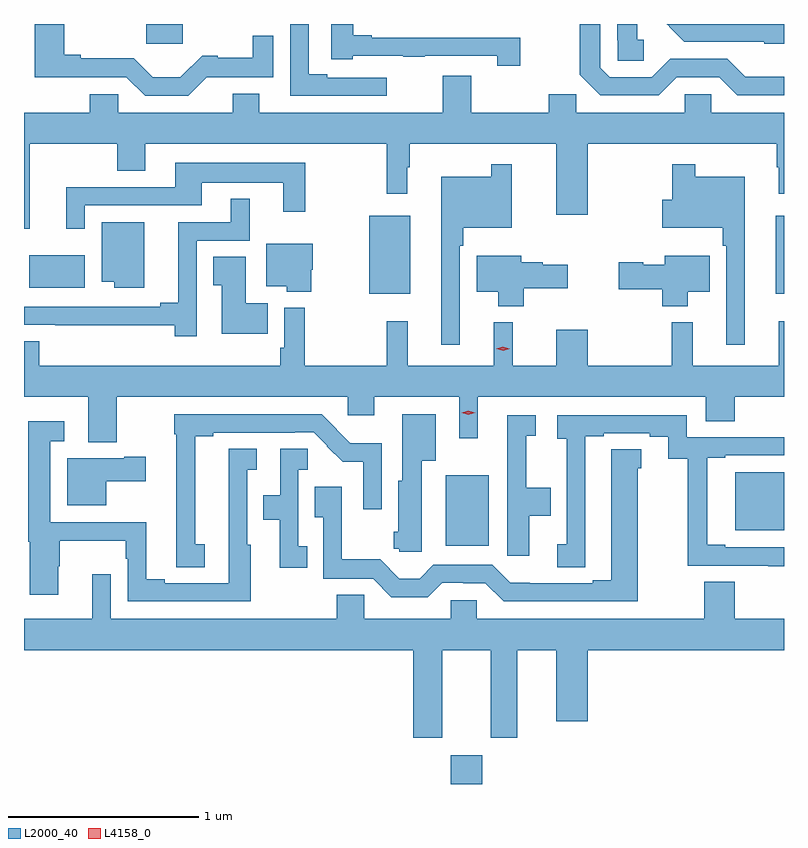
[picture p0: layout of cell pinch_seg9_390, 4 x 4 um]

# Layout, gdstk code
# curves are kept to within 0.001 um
import gdstk
lib = gdstk.Library(unit=1e-6, precision=1e-09)
def R(c, l, rs):  # rectangles x0, y0, x1, y1
    for r in rs: c.add(gdstk.rectangle(r[:2], r[2:], *l))
def P(c, l, *ps):  # polygons
    for p in ps: c.add(gdstk.Polygon(p, *l))
L2000_40 = (2000, 40)
L4158_0 = (4158, 0)

pinch_seg9_390 = lib.new_cell('pinch_seg9_390')
R(pinch_seg9_390, L2000_40, [(320.297,1211.699,320.461,1211.851), (320.27,1212.953,320.497,1213.324), (321.794,1213.034,322.05,1213.339), (319.868,1214.279,320.083,1214.689), (322.007,1214.279,322.05,1214.689), (318.077,1214.312,318.37,1214.482), (318.694,1215.596,318.886,1215.699)])
P(pinch_seg9_390, L2000_40, [(319.013,1215.419),(319.362,1215.419),(319.362,1215.637),(319.254,1215.637),(319.254,1215.521),(319.069,1215.521),(319.069,1215.533),(318.988,1215.533),(318.873,1215.418),(318.728,1215.418),(318.628,1215.519),(318.349,1215.519),(318.349,1215.536),(318.261,1215.536),(318.261,1215.699),(318.106,1215.699),(318.106,1215.419),(318.588,1215.42),(318.687,1215.321),(318.915,1215.321)],
  [(320.662,1215.627),(319.879,1215.627),(319.879,1215.64),(319.783,1215.64),(319.783,1215.699),(319.667,1215.699),(319.667,1215.513),(319.779,1215.513),(319.779,1215.531),(320.047,1215.531),(320.047,1215.526),(320.159,1215.526),(320.159,1215.531),(320.541,1215.531),(320.541,1215.48),(320.662,1215.48)],
  [(322.05,1215.699),(321.433,1215.699),(321.446,1215.686),(321.445,1215.685),(321.524,1215.606),(321.945,1215.606),(321.945,1215.596),(322.05,1215.596)],
  [(321.486,1215.42),(321.708,1215.42),(321.804,1215.324),(322.05,1215.324),(322.05,1215.421),(321.845,1215.421),(321.75,1215.516),(321.45,1215.516),(321.354,1215.42),(321.132,1215.42),(321.084,1215.468),(321.084,1215.699),(320.976,1215.699),(320.976,1215.433),(321.084,1215.324),(321.39,1215.324)],
  [(321.312,1215.616),(321.277,1215.616),(321.277,1215.699),(321.173,1215.699),(321.173,1215.613),(321.174,1215.613),(321.174,1215.505),(321.312,1215.505)],
  [(319.96,1215.417),(319.645,1215.417),(319.645,1215.435),(319.548,1215.435),(319.548,1215.699),(319.452,1215.699),(319.452,1215.321),(319.96,1215.321)],
  [(319.288,1215.331),(319.148,1215.331),(319.148,1215.232),(318.546,1215.232),(318.546,1215.33),(318.395,1215.33),(318.395,1215.232),(318.05,1215.232),(318.05,1214.622),(318.08,1214.622),(318.08,1215.068),(318.541,1215.068),(318.541,1214.926),(318.688,1214.926),(318.688,1215.068),(319.959,1215.068),(319.959,1214.805),(320.068,1214.805),(320.068,1214.945),(320.08,1214.945),(320.08,1215.068),(320.852,1215.068),(320.852,1214.694),(321.016,1214.694),(321.016,1215.068),(322.011,1215.068),(322.011,1214.945),(322.022,1214.945),(322.022,1214.805),(322.05,1214.805),(322.05,1215.232),(321.666,1215.232),(321.666,1215.33),(321.528,1215.33),(321.528,1215.232),(320.957,1215.232),(320.957,1215.33),(320.812,1215.33),(320.812,1215.232),(320.403,1215.232),(320.403,1215.427),(320.255,1215.427),(320.255,1215.232),(319.288,1215.232)],
  [(318.369,1214.745),(318.985,1214.745),(318.985,1214.864),(319.415,1214.864),(319.415,1214.712),(319.529,1214.712),(319.529,1214.968),(318.845,1214.968),(318.845,1214.841),(318.272,1214.841),(318.272,1214.622),(318.369,1214.622)],
  [(320.343,1214.531),(320.363,1214.531),(320.363,1214.627),(320.616,1214.627),(320.616,1214.962),(320.508,1214.962),(320.508,1214.896),(320.246,1214.896),(320.246,1214.01),(320.343,1214.01)],
  [(321.844,1214.896),(321.583,1214.896),(321.583,1214.962),(321.462,1214.962),(321.462,1214.775),(321.41,1214.775),(321.41,1214.627),(321.727,1214.627),(321.727,1214.531),(321.747,1214.531),(321.747,1214.01),(321.844,1214.01)],
  [(318.96,1214.559),(319.237,1214.559),(319.237,1214.779),(319.139,1214.779),(319.139,1214.655),(318.863,1214.655),(318.863,1214.231),(318.767,1214.231),(318.767,1214.211),(318.05,1214.211),(318.05,1214.115),(318.214,1214.115),(318.214,1214.114),(318.844,1214.114),(318.844,1214.055),(318.96,1214.055)],
  [(318.682,1214.656),(318.458,1214.656),(318.458,1214.342),(318.524,1214.342),(318.524,1214.312),(318.682,1214.312)],
  [(319.563,1214.406),(319.57,1214.406),(319.57,1214.542),(319.325,1214.542),(319.325,1214.318),(319.434,1214.318),(319.434,1214.291),(319.563,1214.291)],
  [(320.681,1214.309),(320.911,1214.309),(320.911,1214.431),(320.781,1214.431),(320.781,1214.444),(320.668,1214.444),(320.668,1214.479),(320.432,1214.479),(320.432,1214.291),(320.546,1214.291),(320.546,1214.213),(320.681,1214.213)],
  [(321.544,1214.291),(321.658,1214.291),(321.658,1214.479),(321.422,1214.479),(321.422,1214.431),(321.309,1214.431),(321.309,1214.444),(321.18,1214.444),(321.18,1214.302),(321.41,1214.302),(321.41,1214.213),(321.544,1214.213)],
  [(319.334,1214.23),(319.216,1214.23),(319.216,1214.474),(319.045,1214.474),(319.045,1214.323),(319.091,1214.323),(319.091,1214.069),(319.334,1214.069)],
  [(318.537,1213.736),(319.755,1213.736),(319.755,1213.641),(319.894,1213.641),(319.894,1213.736),(320.34,1213.736),(320.34,1213.518),(320.437,1213.518),(320.437,1213.736),(321.638,1213.736),(321.638,1213.609),(321.791,1213.609),(321.791,1213.736),(322.05,1213.736),(322.05,1214.134),(322.022,1214.134),(322.022,1213.9),(321.569,1213.9),(321.569,1214.128),(321.459,1214.128),(321.459,1213.9),(321.016,1213.9),(321.016,1214.089),(320.852,1214.089),(320.852,1213.9),(320.622,1213.9),(320.622,1214.128),(320.522,1214.128),(320.522,1213.9),(320.069,1213.9),(320.069,1214.134),(319.959,1214.134),(319.959,1213.9),(319.528,1213.9),(319.528,1214.206),(319.419,1214.206),(319.419,1213.996),(319.399,1213.996),(319.399,1213.9),(318.131,1213.9),(318.131,1214.03),(318.05,1214.03),(318.05,1213.736),(318.389,1213.736),(318.389,1213.499),(318.537,1213.499)],
  [(320.143,1213.4),(320.218,1213.4),(320.218,1213.645),(320.04,1213.645),(320.04,1213.296),(320.021,1213.296),(320.021,1213.026),(319.997,1213.026),(319.997,1212.936),(320.025,1212.936),(320.025,1212.921),(320.143,1212.921)],
  [(319,1212.96),(318.95,1212.96),(318.95,1213.528),(319.045,1213.528),(319.045,1213.548),(319.475,1213.548),(319.475,1213.551),(319.575,1213.551),(319.647,1213.479),(319.644,1213.476),(319.727,1213.394),(319.836,1213.394),(319.836,1213.146),(319.932,1213.146),(319.932,1213.492),(319.767,1213.492),(319.694,1213.565),(319.696,1213.567),(319.618,1213.644),(318.84,1213.644),(318.84,1213.541),(318.851,1213.541),(318.851,1212.841),(319,1212.841)],
  [(321.003,1212.949),(321.004,1212.949),(321.004,1213.53),(321.1,1213.53),(321.1,1213.545),(321.344,1213.545),(321.344,1213.527),(321.44,1213.527),(321.44,1213.412),(321.544,1213.412),(321.544,1212.849),(321.968,1212.849),(321.968,1212.844),(322.05,1212.844),(322.05,1212.945),(321.742,1212.945),(321.742,1212.958),(321.646,1212.958),(321.646,1213.416),(321.742,1213.416),(321.742,1213.428),(322.05,1213.428),(322.05,1213.524),(321.537,1213.524),(321.537,1213.641),(320.856,1213.641),(320.856,1213.517),(320.907,1213.517),(320.907,1212.96),(320.856,1212.96),(320.856,1212.841),(321.003,1212.841)],
  [(320.71,1213.111),(320.822,1213.111),(320.822,1213.258),(320.693,1213.258),(320.693,1213.533),(320.743,1213.533),(320.743,1213.639),(320.594,1213.639),(320.594,1212.9),(320.71,1212.9)],
  [(319.243,1212.957),(319.224,1212.957),(319.224,1213.352),(319.276,1213.352),(319.276,1213.463),(319.127,1213.463),(319.127,1213.057),(319.128,1213.057),(319.128,1212.756),(318.79,1212.756),(318.79,1212.776),(318.694,1212.776),(318.694,1213.077),(318.189,1213.077),(318.189,1213.503),(318.262,1213.503),(318.262,1213.609),(318.073,1213.609),(318.073,1212.974),(318.08,1212.974),(318.08,1212.696),(318.229,1212.696),(318.229,1212.846),(318.237,1212.846),(318.237,1212.98),(318.585,1212.98),(318.585,1212.884),(318.597,1212.884),(318.597,1212.66),(319.243,1212.66)],
  [(319.541,1212.95),(319.494,1212.95),(319.494,1213.352),(319.543,1213.352),(319.543,1213.463),(319.398,1213.463),(319.398,1213.219),(319.309,1213.219),(319.309,1213.09),(319.397,1213.09),(319.397,1212.837),(319.541,1212.837)],
  [(321.28,1213.362),(321.298,1213.362),(321.298,1213.46),(321.141,1213.46),(321.14,1212.771),(321.044,1212.771),(321.044,1212.756),(320.609,1212.757),(320.514,1212.852),(320.205,1212.852),(320.132,1212.779),(320.026,1212.779),(319.924,1212.881),(319.722,1212.881),(319.722,1213.264),(319.579,1213.264),(319.579,1213.103),(319.626,1213.103),(319.626,1212.78),(319.887,1212.78),(319.984,1212.683),(320.174,1212.683),(320.25,1212.759),(320.363,1212.759),(320.363,1212.756),(320.478,1212.756),(320.574,1212.66),(321.28,1212.66)],
  [(318.484,1213.292),(318.691,1213.292),(318.691,1213.422),(318.578,1213.422),(318.578,1213.414),(318.278,1213.414),(318.278,1213.166),(318.484,1213.166)],
  [(320.433,1212.666),(320.295,1212.666),(320.295,1212.568),(319.842,1212.568),(319.842,1212.695),(319.696,1212.695),(319.696,1212.568),(318.507,1212.568),(318.507,1212.802),(318.41,1212.802),(318.41,1212.568),(318.05,1212.568),(318.05,1212.404),(320.099,1212.404),(320.099,1211.943),(320.251,1211.943),(320.251,1212.404),(320.507,1212.404),(320.507,1211.943),(320.647,1211.943),(320.647,1212.404),(320.852,1212.404),(320.852,1212.03),(321.016,1212.03),(321.016,1212.404),(322.05,1212.404),(322.05,1212.568),(321.791,1212.568),(321.791,1212.764),(321.631,1212.764),(321.631,1212.568),(320.433,1212.568)])
P(pinch_seg9_390, L4158_0, [(320.388,1213.643),(320.353,1213.652),(320.353,1213.652),(320.353,1213.652),(320.388,1213.663),(320.424,1213.654),(320.424,1213.654),(320.424,1213.653)],
  [(320.572,1213.98),(320.536,1213.989),(320.536,1213.989),(320.536,1213.989),(320.571,1214),(320.607,1213.991),(320.607,1213.991),(320.607,1213.99)])

lib.write_gds('pinch_seg9_390.gds')
